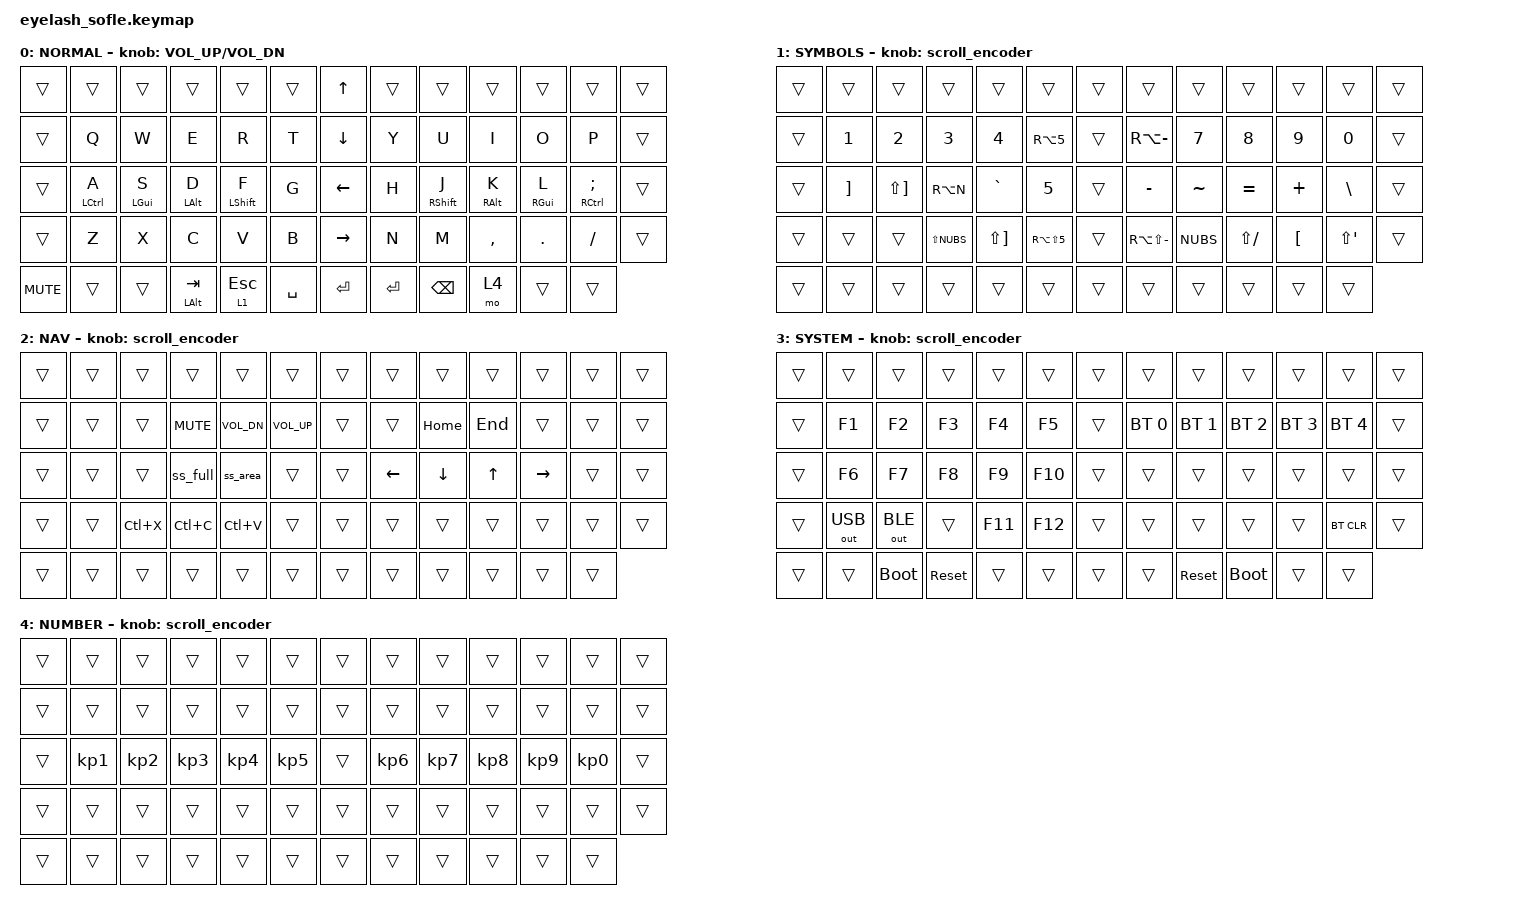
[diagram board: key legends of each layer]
#define ZMK_POINTING_DEFAULT_MOVE_VAL 1200  // 600
#define ZMK_POINTING_DEFAULT_SCRL_VAL 25   // 10

#include <input/processors.dtsi>
#include <zephyr/dt-bindings/input/input-event-codes.h>
#include <behaviors.dtsi>
#include <dt-bindings/zmk/bt.h>
#include <dt-bindings/zmk/ext_power.h>
#include <dt-bindings/zmk/keys.h>
#include <dt-bindings/zmk/pointing.h>
#include <dt-bindings/zmk/rgb.h>
#include <dt-bindings/zmk/outputs.h>

&mmv_input_listener { input-processors = <&zip_xy_scaler 2 1>; };

&msc_input_listener { input-processors = <&zip_scroll_scaler 2 1>; };

&msc {
    acceleration-exponent = <1>;      // 0
    time-to-max-speed-ms = <100>;       // 300
    delay-ms = <0>;                   // 0
};

&mmv {
    time-to-max-speed-ms = <500>;
    acceleration-exponent = <1>;
    trigger-period-ms = <16>;
};


/ {
    behaviors {
      hml: homerow_mod_left {
        compatible = "zmk,behavior-hold-tap";
        #binding-cells = <2>;
        flavor = "balanced";
        require-prior-idle-ms = <150>;
        tapping-term-ms = <280>;
        quick-tap-ms = <175>;
        bindings = <&kp>, <&kp>;
        hold-trigger-key-positions = <7 8 9 10 11 12
                                      20 21 22 23 24 25
                                      33 34 35 36 37 38
                                      46 47 48 49 50 51
                                      58 59 60 61 62 63>;
        hold-trigger-on-release;
      };

      hmr: homerow_mod_right {
        compatible = "zmk,behavior-hold-tap";
        #binding-cells = <2>;
        flavor = "balanced";
        require-prior-idle-ms = <150>;
        tapping-term-ms = <280>;
        quick-tap-ms = <175>;
        bindings = <&kp>, <&kp>;
        hold-trigger-key-positions = <0 1 2 3 4 5
                                      13 14 15 16 17 18
                                      26 27 28 29 30 31
                                      39 40 41 42 43 44
                                      52 53 54 55 56 57>;
        hold-trigger-on-release;
      };

      scroll_encoder: scroll_encoder {
          compatible = "zmk,behavior-sensor-rotate";
          #sensor-binding-cells = <0>;
          bindings = <&msc SCRL_DOWN>, <&msc SCRL_UP>;
          tap-ms = <100>;
      };

      ss_full: screenshot_full {
          compatible = "zmk,behavior-macro";
          #binding-cells = <0>;
          bindings
              = <&macro_press &kp LSHFT &kp LGUI>
              , <&macro_tap &kp N3>
              , <&macro_release &kp LGUI &kp LSHFT>;
      };

      ss_area: screenshot_area {
          compatible = "zmk,behavior-macro";
          #binding-cells = <0>;
          bindings
              = <&macro_press &kp LSHFT &kp LGUI>
              , <&macro_tap &kp N4>
              , <&macro_release &kp LGUI &kp LSHFT>;
      };
    };

    combos {
        compatible = "zmk,combos";

        combo_lb {
            timeout-ms = <30>;
            key-positions = <42 43>;
            bindings = <&kp RS(RA(N5))>;       // [
            layers = <0>;
        };

        combo_bslash {
            timeout-ms = <30>;
            key-positions = <41 42>;
            bindings = <&kp RA(RS(COMMA))>;       // \
            layers = <0>;
        };

        combo_lbrace {
            timeout-ms = <30>;
            key-positions = <16 17>;
            bindings = <&kp RA(N5)>;       // {
            layers = <0>;
        };

        combo_rbrace {
            timeout-ms = <30>;
            key-positions = <21 22>;
            bindings = <&kp RA(MINUS)>;    // }
            layers = <0>;
        };

        combo_lparen {
            timeout-ms = <30>;
            key-positions = <29 30>;
            bindings = <&kp N5>;           // (
            layers = <0>;
        };

        combo_rparen {
            timeout-ms = <30>;
            key-positions = <34 35>;
            bindings = <&kp MINUS>;        // )
            layers = <0>;
        };

        combo_lt {
            timeout-ms = <30>;
            key-positions = <28 29>;
            bindings = <&kp GRAVE>;         // <
            layers = <0>;
        };

        combo_gt {
            timeout-ms = <30>;
            key-positions = <35 36>;
            bindings = <&kp TILDE>;     // >
            layers = <0>;
        };

        combo_rb {
            timeout-ms = <30>;
            key-positions = <47 48>;
            bindings = <&kp RS(RA(MINUS))>;    // ]
            layers = <0>;
        };

        combo_pipe {
            timeout-ms = <30>;
            key-positions = <48 49>;
            bindings = <&kp RA(LS(L))>;       // |
            layers = <0>;
        };

        combo_system {
           timeout-ms = <30>;
           key-positions= <57 59>;
           bindings = <&mo 3>;
           layers = <0>;
        };

        combo_nav {
           timeout-ms = <30>;
           key-positions= <55 56>;
           bindings = <&mo 2>;
           layers = <0>;
        };
    };
    keymap {
        compatible = "zmk,keymap";

        layer0 {
            bindings = <
                &trans      &trans        &trans        &trans        &trans         &trans          &kp UP_ARROW      &trans         &trans         &trans         &trans         &trans            &trans
                &trans      &kp Q         &kp W         &kp E         &kp R          &kp T           &kp DOWN_ARROW    &kp Y          &kp U          &kp I          &kp O          &kp P             &trans
                &trans      &hml LCTRL A  &hml LGUI S   &hml LALT D   &hml LSHFT F   &kp G           &kp LEFT_ARROW    &kp H          &hmr RSHFT J   &hmr RALT K    &hmr RGUI L    &hmr RCTRL SEMI    &trans
                  &trans      &kp Z         &kp X         &kp C         &kp V          &kp B           &kp RIGHT_ARROW   &kp N          &kp M          &kp COMMA      &kp DOT        &kp FSLH           &trans
                  &kp C_MUTE  &trans        &trans        &mt LALT TAB  &lt 1 ESC      &kp SPACE     &kp ENTER         &kp ENTER      &kp BSPC       &mo 4       &trans         &trans
            >;

            sensor-bindings = <&inc_dec_kp C_VOLUME_UP C_VOL_DN>;
            display-name = "NORMAL";
        };

        layer_1 {
            bindings = <
                &trans        &trans               &trans                &trans             &trans                 &trans            &trans              &trans              &trans          &trans           &trans        &trans       &trans
                &trans        &kp N1               &kp N2                &kp N3             &kp N4                 &kp RA(N5)        &trans              &kp RA(MINUS)       &kp N7          &kp N8           &kp N9        &kp N0       &trans
                &trans        &kp RIGHT_BRACKET    &kp LS(RIGHT_BRACKET) &kp RA(N)          &kp GRAVE              &kp N5            &trans              &kp MINUS           &kp TILDE       &kp EQUAL        &kp PLUS        &kp BSLH   &trans
                &trans        &trans               &trans                &kp LS(NUBS)       &kp LS(RIGHT_BRACKET)  &kp RA(LS(N5))   &trans               &kp RA(LS(MINUS))   &kp NUBS        &kp LS(FSLH)     &kp LEFT_BRACKET  &kp LS(SQT)  &trans
                &trans        &trans               &trans                &trans             &trans                 &trans            &trans              &trans              &trans          &trans           &trans        &trans
            >;

            display-name = "SYMBOLS";
            sensor-bindings = <&scroll_encoder>;
        };

        layer_2 {
            bindings = <
                &trans        &trans              &trans              &trans                &trans                &trans                  &trans            &trans      &trans    &trans   &trans     &trans  &trans
                &trans        &trans              &trans              &kp C_MUTE            &kp C_VOL_DN          &kp C_VOLUME_UP         &trans            &trans      &kp HOME  &kp END  &trans     &trans  &trans
                &trans        &trans              &trans              &ss_full              &ss_area              &trans                  &trans            &kp LEFT    &kp DOWN  &kp UP   &kp RIGHT  &trans  &trans
                &trans        &trans              &kp LC(X)           &kp LC(C)             &kp LC(V)             &trans                  &trans            &trans      &trans    &trans   &trans     &trans  &trans
                &trans        &trans              &trans              &trans                &trans                &trans                  &trans            &trans      &trans    &trans   &trans     &trans
            >;
            
            display-name = "NAV";
            sensor-bindings = <&scroll_encoder>;
        };

        layer_3 {
            bindings = <
                &trans        &trans              &trans              &trans              &trans              &trans              &trans           &trans              &trans              &trans              &trans              &trans              &trans
                &trans        &kp F1              &kp F2              &kp F3              &kp F4              &kp F5              &trans           &bt BT_SEL 0        &bt BT_SEL 1        &bt BT_SEL 2        &bt BT_SEL 3        &bt BT_SEL 4        &trans
                &trans        &kp F6              &kp F7              &kp F8              &kp F9              &kp F10             &trans           &trans              &trans              &trans              &trans              &trans              &trans
                &trans        &out OUT_USB        &out OUT_BLE        &trans              &kp F11             &kp F12             &trans           &trans              &trans              &trans              &trans              &bt BT_CLR          &trans
                &trans        &trans              &bootloader         &sys_reset          &trans              &trans              &trans           &trans              &sys_reset          &bootloader      &trans              &trans
            >;

            display-name = "SYSTEM";
            sensor-bindings = <&scroll_encoder>;
        };

        layer_4 {
            bindings = <
                &trans        &trans              &trans              &trans              &trans              &trans              &trans           &trans              &trans              &trans              &trans              &trans              &trans
                &trans        &trans              &trans              &trans              &trans              &trans              &trans           &trans              &trans              &trans              &trans              &trans              &trans
                &trans        &kp KP_N1           &kp KP_N2           &kp KP_N3           &kp KP_N4           &kp KP_N5           &trans           &kp KP_N6           &kp KP_N7           &kp KP_N8           &kp KP_N9           &kp KP_N0           &trans
                &trans        &trans              &trans              &trans              &trans              &trans              &trans           &trans              &trans              &trans              &trans              &trans              &trans
                &trans        &trans              &trans              &trans              &trans              &trans              &trans           &trans              &trans              &trans              &trans              &trans
            >;

            display-name = "NUMBER";
            sensor-bindings = <&scroll_encoder>;
        };
    };
};
